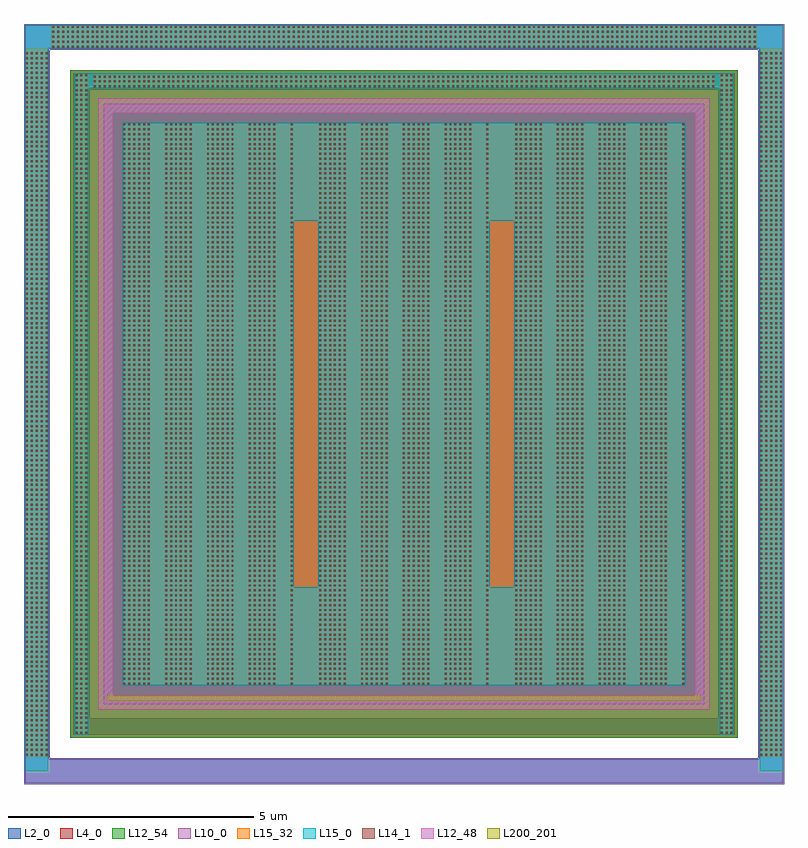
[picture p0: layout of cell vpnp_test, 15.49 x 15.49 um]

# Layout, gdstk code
import gdstk
lib = gdstk.Library(unit=1e-6, precision=1e-09)
def R(c, l, rs):  # rectangles x0, y0, x1, y1
    for r in rs: c.add(gdstk.rectangle(r[:2], r[2:], *l))
def A(c, l, x, y, w, h, nx, ny, dx, dy):  # array of equal rectangles
    R(c, l, [(x+i*dx, y+j*dy, x+i*dx+w, y+j*dy+h) for i in range(nx) for j in range(ny)])
L2_0 = (2, 0)
L4_0 = (4, 0)
L10_0 = (10, 0)
L12_48 = (12, 48)
L12_54 = (12, 54)
L14_1 = (14, 1)
L15_0 = (15, 0)
L15_32 = (15, 32)
L200_201 = (200, 201)

vpnp_test = lib.new_cell('vpnp_test')
R(vpnp_test, L2_0, [(-14.229,-6.259,1.223,-5.779), (-14.229,-5.779,-13.749,8.713), (0.743,-5.779,1.223,8.713), (-13.249,-5.279,0.243,-4.939), (-13.249,-4.939,-12.909,7.873), (-0.097,-4.939,0.243,7.873), (-12.553,-4.583,-0.453,7.517), (-13.249,7.873,0.243,8.213), (-14.229,8.713,1.223,9.193)])
R(vpnp_test, L4_0, [(-13.305,-5.335,0.299,8.269)])
R(vpnp_test, L10_0, [(-14.25,-6.28,1.244,-5.758), (-14.25,-5.758,-13.728,8.692), (0.722,-5.758,1.244,8.692), (-12.623,-4.653,-0.383,7.587), (-14.25,8.692,1.244,9.214)])
R(vpnp_test, L12_48, [(-12.734,-4.764,-0.272,-4.458), (-12.734,-4.458,-12.428,7.392), (-0.578,-4.458,-0.272,7.392), (-12.734,7.392,-0.272,7.698)])
R(vpnp_test, L12_54, [(-13.305,-5.335,0.299,8.269)])
A(vpnp_test, L14_1, -14.209, -5.703, 0.04, 0.04, 5, 144, 0.1, 0.1)
A(vpnp_test, L14_1, 0.763, -5.703, 0.04, 0.04, 5, 144, 0.1, 0.1)
A(vpnp_test, L14_1, -13.199, -5.253, 0.04, 0.04, 3, 135, 0.1, 0.1)
A(vpnp_test, L14_1, -0.047, -5.253, 0.04, 0.04, 3, 135, 0.1, 0.1)
A(vpnp_test, L14_1, -12.223, -4.253, 0.04, 0.04, 6, 115, 0.1, 0.1)
A(vpnp_test, L14_1, -11.371, -4.253, 0.04, 0.04, 6, 115, 0.1, 0.1)
A(vpnp_test, L14_1, -10.519, -4.253, 0.04, 0.04, 6, 115, 0.1, 0.1)
A(vpnp_test, L14_1, -9.667, -4.253, 0.04, 0.04, 6, 115, 0.1, 0.1)
A(vpnp_test, L14_1, -8.815, -4.253, 0.04, 0.04, 1, 115, 0, 0.1)
A(vpnp_test, L14_1, -8.231, -4.253, 0.04, 0.04, 6, 115, 0.1, 0.1)
A(vpnp_test, L14_1, -7.379, -4.253, 0.04, 0.04, 6, 115, 0.1, 0.1)
A(vpnp_test, L14_1, -6.527, -4.253, 0.04, 0.04, 6, 115, 0.1, 0.1)
A(vpnp_test, L14_1, -5.675, -4.253, 0.04, 0.04, 6, 115, 0.1, 0.1)
A(vpnp_test, L14_1, -4.823, -4.253, 0.04, 0.04, 1, 115, 0, 0.1)
A(vpnp_test, L14_1, -4.239, -4.253, 0.04, 0.04, 6, 115, 0.1, 0.1)
A(vpnp_test, L14_1, -3.387, -4.253, 0.04, 0.04, 6, 115, 0.1, 0.1)
A(vpnp_test, L14_1, -2.535, -4.253, 0.04, 0.04, 6, 115, 0.1, 0.1)
A(vpnp_test, L14_1, -1.683, -4.253, 0.04, 0.04, 6, 115, 0.1, 0.1)
A(vpnp_test, L14_1, -0.831, -4.253, 0.04, 0.04, 1, 115, 0, 0.1)
A(vpnp_test, L14_1, -12.823, 7.923, 0.04, 0.04, 127, 3, 0.1, 0.1)
A(vpnp_test, L14_1, -13.673, 8.733, 0.04, 0.04, 144, 5, 0.1, 0.1)
A(vpnp_test, L15_0, -12.241, -2.271, 3.492, 7.476, 3, 1, 3.992, 0)
R(vpnp_test, L15_0, [(-14.227,-6.019,-13.751,9.191), (0.745,-6.019,1.221,9.191), (-13.217,-5.271,-12.941,8.205), (-0.065,-5.271,0.211,8.205), (-12.241,-4.271,-0.765,-2.271), (-12.241,5.205,-0.765,7.205), (-12.941,7.905,-0.065,8.205), (-13.751,8.715,0.745,9.191)])
R(vpnp_test, L15_32, [(-14.227,-5.721,-13.751,8.715), (0.745,-5.721,1.221,8.715), (-13.217,-5.271,-12.941,8.205), (-0.065,-5.271,0.211,8.205), (-12.241,-4.271,-0.765,7.205), (-12.841,7.905,-0.165,8.181), (-13.691,8.715,0.685,9.191)])
R(vpnp_test, L200_201, [(-12.553,-4.583,-0.453,-4.483)])

lib.write_gds('vpnp_test.gds')
